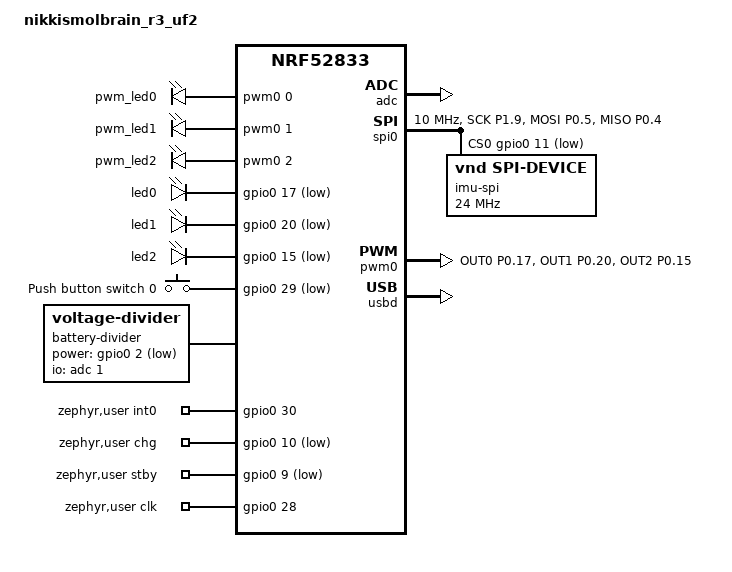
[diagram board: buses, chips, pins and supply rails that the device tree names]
// Copyright (c) 2024 Nordic Semiconductor ASA
// SPDX-License-Identifier: Apache-2.0

/dts-v1/;
#include <nordic/nrf52833_qdaa.dtsi>

//move to dtsi?
&pinctrl
{
    // SPI
	spi0_default: spi0_default {
		group1 {
			psels = <NRF_PSEL(SPIM_SCK , 1, 9)>,
					<NRF_PSEL(SPIM_MOSI, 0, 5)>,
					<NRF_PSEL(SPIM_MISO, 0, 4)>;
		};
	};

	spi0_sleep: spi0_sleep {
		group1 {
			psels = <NRF_PSEL(SPIM_SCK , 1, 9)>,
					<NRF_PSEL(SPIM_MOSI, 0, 5)>,
					<NRF_PSEL(SPIM_MISO, 0, 4)>;
			low-power-enable;
		};
	};

    // LEDs
	pwm0_default: pwm0_default {
		group1 {
			psels = <NRF_PSEL(PWM_OUT0, 0, 17)>, // Red
					<NRF_PSEL(PWM_OUT1, 0, 20)>, // Green
					<NRF_PSEL(PWM_OUT2, 0, 15)>; // Blue
			nordic,drive-mode = <NRF_DRIVE_D0S1>;
			nordic,invert;
		};
	};

	pwm0_sleep: pwm0_sleep {
		group1 {
			psels = <NRF_PSEL(PWM_OUT0, 0, 17)>, // Red
					<NRF_PSEL(PWM_OUT1, 0, 20)>, // Green
					<NRF_PSEL(PWM_OUT2, 0, 15)>; // Blue
			low-power-enable;
		};
	};
};
//end

/ {
	model = "nikkismolbrain_r3_uf2";
	compatible = "nikkismolbrain_r3_uf2";

	chosen {
		zephyr,sram = &sram0;
		zephyr,flash = &flash0;
		zephyr,console = &cdc_acm_uart0;
		zephyr,shell-uart = &cdc_acm_uart0;
	};

	pwmleds {
		compatible = "pwm-leds";
		pwm_led0: pwm_led_0 {
			pwms = <&pwm0 0 PWM_MSEC(1) PWM_POLARITY_INVERTED>;
		};
		pwm_led1: pwm_led_1 {
			pwms = <&pwm0 1 PWM_MSEC(1) PWM_POLARITY_INVERTED>;
		};
		pwm_led2: pwm_led_2 {
			pwms = <&pwm0 2 PWM_MSEC(1) PWM_POLARITY_INVERTED>;
		};
	};

    leds {
        compatible = "gpio-leds";
        led0: led_0 {
            gpios = <&gpio0 17 (GPIO_OPEN_DRAIN | GPIO_ACTIVE_LOW)>;
        };
        led1: led_1 {
            gpios = <&gpio0 20 (GPIO_OPEN_DRAIN | GPIO_ACTIVE_LOW)>;
        };
        led2: led_2 {
            gpios = <&gpio0 15 (GPIO_OPEN_DRAIN | GPIO_ACTIVE_LOW)>;
        };
    };

	buttons {
		compatible = "gpio-keys";
		button0: button_0 {
			gpios = <&gpio0 29 (GPIO_PULL_UP | GPIO_ACTIVE_LOW)>;
			label = "Push button switch 0";
		};
	};

	aliases {
		sw0 = &button0;
		pwm-led0 = &pwm_led0;
		pwm-led1 = &pwm_led1;
		pwm-led2 = &pwm_led2;
		led0 = &led0;
		led1 = &led1;
		led2 = &led2;
	};

	battery-divider {
		compatible = "voltage-divider";
		status = "okay";
		io-channels = <&adc 1>; // ADC PIN P0.03_AIN1
		output-ohms = <1000000>;
		full-ohms = <(2063882)>;
		power-gpios = <&gpio0 2 (GPIO_OPEN_DRAIN | GPIO_ACTIVE_LOW)>; // Voltage Divider ground pin which is open drain P0.02_AIN0
	};

	zephyr,user {
		int0-gpios = <&gpio0 30 0>;
		chg-gpios = <&gpio0 10 (GPIO_ACTIVE_LOW | GPIO_PULL_UP)>;
		stby-gpios = <&gpio0 9 (GPIO_ACTIVE_LOW | GPIO_PULL_UP)>;
		clk-gpios = <&gpio0 28 (GPIO_ACTIVE_HIGH| GPIO_PULL_DOWN)>;
	};
};

&reg1 {
	regulator-initial-mode = <NRF5X_REG_MODE_DCDC>; // NIKKI smolBrain - sets internal DCDC instead of LDO
};

&adc {
	status = "okay";
};

&gpiote {
	status = "okay";
};

&gpio0 {
	status = "okay";
};

&gpio1 {
	status = "okay";
};

&spi0 {
	status = "okay";
	compatible = "nordic,nrf-spim";
	cs-gpios = <&gpio0 11 GPIO_ACTIVE_LOW>;
	
	pinctrl-0 = <&spi0_default>;
	pinctrl-1 = <&spi0_sleep>;
	pinctrl-names = "default", "sleep";
	
	clock-frequency = < DT_FREQ_M(10) >;

	imu_spi: imu_spi@0 {
		status = "okay";
		compatible = "vnd,spi-device";
		label = "imu-spi";
		reg = <0>;
		
		spi-max-frequency = <DT_FREQ_M(24)>;
		
		// MAG on aux I2C yet not supported #77
	};
};

&pwm0 {
	status = "okay";
	pinctrl-0 = <&pwm0_default>;
	pinctrl-1 = <&pwm0_sleep>;
	pinctrl-names = "default", "sleep";
};

zephyr_udc0: &usbd {
	compatible = "nordic,nrf-usbd";
	status = "okay";
	cdc_acm_uart0: cdc_acm_uart0 {
		compatible = "zephyr,cdc-acm-uart";
	};
};

&nfct {
	status = "disabled";
};
